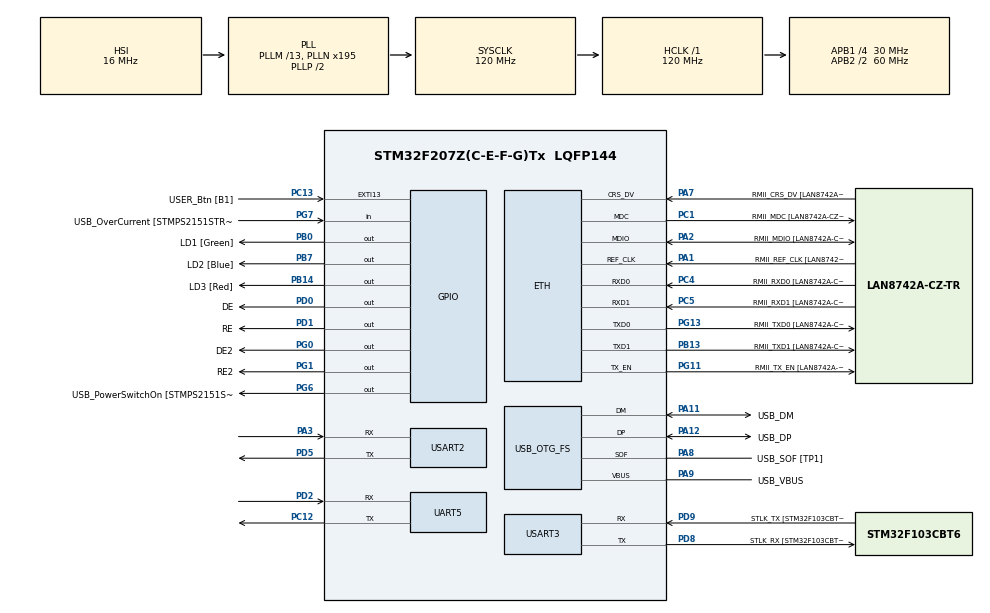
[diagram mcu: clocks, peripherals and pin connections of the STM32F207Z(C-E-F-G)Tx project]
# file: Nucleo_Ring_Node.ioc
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ETH.MediaInterface=ETH_MEDIA_INTERFACE_RMII
ETH.PHY_Name=LAN8742A_PHY_ADDRESS
ETH.PHY_Value=0
ETH.PhyAddress=0
Mcu.Family=STM32F2
Mcu.Name=STM32F207Z(C-E-F-G)Tx
Mcu.Package=LQFP144
NVIC.PriorityGroup=NVIC_PRIORITYGROUP_4
NVIC.UART5_IRQn=true\:0\:0\:false\:false\:true\:true\:true\:true
NVIC.USART2_IRQn=true\:0\:0\:false\:false\:true\:true\:true\:true
PA1.GPIO_Label=RMII_REF_CLK [LAN8742A-CZ-TR_REFCLK0]
PA1.Mode=RMII
PA1.Signal=ETH_REF_CLK
PA10.GPIO_Label=USB_ID
PA10.Signal=USB_OTG_FS_ID
PA11.GPIO_Label=USB_DM
PA11.Mode=Device_Only
PA11.Signal=USB_OTG_FS_DM
PA12.GPIO_Label=USB_DP
PA12.Mode=Device_Only
PA12.Signal=USB_OTG_FS_DP
PA13.GPIO_Label=TMS
PA13.Mode=Serial_Wire
PA13.Signal=SYS_JTMS-SWDIO
PA14.GPIO_Label=TCK
PA14.Mode=Serial_Wire
PA14.Signal=SYS_JTCK-SWCLK
PA2.GPIO_Label=RMII_MDIO [LAN8742A-CZ-TR_MDIO]
PA2.Mode=RMII
PA2.Signal=ETH_MDIO
PA3.Mode=Asynchronous
PA3.Signal=USART2_RX
PA7.GPIO_Label=RMII_CRS_DV [LAN8742A-CZ-TR_CRS_DV]
PA7.Mode=RMII
PA7.Signal=ETH_CRS_DV
PA8.GPIO_Label=USB_SOF [TP1]
PA8.Mode=Activate_SOF_FS
PA8.Signal=USB_OTG_FS_SOF
PA9.GPIO_Label=USB_VBUS
PA9.Mode=Activate_VBUS
PA9.Signal=USB_OTG_FS_VBUS
PB0.GPIO_Label=LD1 [Green]
PB0.Signal=GPIO_Output
PB13.GPIO_Label=RMII_TXD1 [LAN8742A-CZ-TR_TXD1]
PB13.Mode=RMII
PB13.Signal=ETH_TXD1
PB14.GPIO_Label=LD3 [Red]
PB14.Signal=GPIO_Output
PB3.GPIO_Label=SWO
PB3.Signal=SYS_JTDO-SWO
PB7.GPIO_Label=LD2 [Blue]
PB7.Signal=GPIO_Output
PC1.GPIO_Label=RMII_MDC [LAN8742A-CZ-TR_MDC]
PC1.Mode=RMII
PC1.Signal=ETH_MDC
PC12.Mode=Asynchronous
PC12.Signal=UART5_TX
PC13.GPIO_Label=USER_Btn [B1]
PC13.Signal=GPXTI13
PC14-OSC32_IN.Mode=LSE-External-Oscillator
PC14-OSC32_IN.Signal=RCC_OSC32_IN
PC15-OSC32_OUT.Mode=LSE-External-Oscillator
PC15-OSC32_OUT.Signal=RCC_OSC32_OUT
PC4.GPIO_Label=RMII_RXD0 [LAN8742A-CZ-TR_RXD0]
PC4.Mode=RMII
PC4.Signal=ETH_RXD0
PC5.GPIO_Label=RMII_RXD1 [LAN8742A-CZ-TR_RXD1]
PC5.Mode=RMII
PC5.Signal=ETH_RXD1
PD0.GPIO_Label=DE
PD0.Signal=GPIO_Output
PD1.GPIO_Label=RE
PD1.Signal=GPIO_Output
PD2.Mode=Asynchronous
PD2.Signal=UART5_RX
PD5.Mode=Asynchronous
PD5.Signal=USART2_TX
PD8.GPIO_Label=STLK_RX [STM32F103CBT6_PA2]
PD8.Mode=Asynchronous
PD8.Signal=USART3_TX
PD9.GPIO_Label=STLK_TX [STM32F103CBT6_PA3]
PD9.Mode=Asynchronous
PD9.Signal=USART3_RX
PG0.GPIO_Label=DE2
PG0.Signal=GPIO_Output
PG1.GPIO_Label=RE2
PG1.Signal=GPIO_Output
PG11.GPIO_Label=RMII_TX_EN [LAN8742A-CZ-TR_TXEN]
PG11.Mode=RMII
PG11.Signal=ETH_TX_EN
PG13.GPIO_Label=RMII_TXD0 [LAN8742A-CZ-TR_TXD0]
PG13.Mode=RMII
PG13.Signal=ETH_TXD0
PG6.GPIO_Label=USB_PowerSwitchOn [STMPS2151STR_EN]
PG6.Signal=GPIO_Output
PG7.GPIO_Label=USB_OverCurrent [STMPS2151STR_FAULT]
PG7.Signal=GPIO_Input
PH0-OSC_IN.GPIO_Label=MCO [STM32F103CBT6_PA8]
PH0-OSC_IN.Mode=HSE-External-Clock-Source
PH0-OSC_IN.Signal=RCC_OSC_IN
PH1-OSC_OUT.Mode=HSE-External-Clock-Source
PH1-OSC_OUT.Signal=RCC_OSC_OUT
ProjectManager.HeapSize=0x200
ProjectManager.StackSize=0x400
ProjectManager.TargetToolchain=STM32CubeIDE
RCC.48MHZClocksFreq_Value=48000000
RCC.AHBFreq_Value=120000000
RCC.APB1CLKDivider=RCC_HCLK_DIV4
RCC.APB1Freq_Value=30000000
RCC.APB1TimFreq_Value=60000000
RCC.APB2CLKDivider=RCC_HCLK_DIV2
RCC.APB2Freq_Value=60000000
RCC.APB2TimFreq_Value=120000000
RCC.CortexFreq_Value=120000000
RCC.HCLKFreq_Value=120000000
RCC.HSE_VALUE=8000000
RCC.HSI_VALUE=16000000
RCC.PLLM=13
RCC.PLLMUL=RCC_PLL_MUL9
RCC.PLLN=195
RCC.PLLQ=5
RCC.PRESCALERUSB=RCC_USBCLKSOURCE_PLL_DIV1_5
RCC.SYSCLKFreq_VALUE=120000000
RCC.SYSCLKSource=RCC_SYSCLKSOURCE_PLLCLK
RCC.SYSCLKSourceVirtual=RCC_SYSCLKSOURCE_PLLCLK
RCC.USBFreq_Value=48000000
RCC.VCOOutputFreq_Value=240000000
UART5.VirtualMode=Asynchronous
USART2.VirtualMode=VM_ASYNC
USART3.VirtualMode=VM_ASYNC
USB_OTG_FS.VirtualMode=Device_Only
board=NUCLEO-F207ZG

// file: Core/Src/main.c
/* USER CODE BEGIN Header */
/**
  ******************************************************************************
  * @file           : main.c
  * @brief          : Main program body
  ******************************************************************************
  * @attention
  *
  * Copyright (c) 2026 STMicroelectronics.
  * All rights reserved.
  *
  * This software is licensed under terms that can be found in the LICENSE file
  * in the root directory of this software component.
  * If no LICENSE file comes with this software, it is provided AS-IS.
  *
  ******************************************************************************
  */
/* USER CODE END Header */
#include "main.h"

/* USER CODE BEGIN Includes */
#include <stdio.h>
#include <string.h>
#include <stdarg.h>
/* USER CODE END Includes */

/* USER CODE BEGIN PD */
#define RS485_DE_PORT    GPIOD
#define RS485_DE_PIN     GPIO_PIN_0

#define RS485_RE_PORT    GPIOD
#define RS485_RE_PIN     GPIO_PIN_1

#define PKT_DATA    1
#define PKT_ACK     2
#define PKT_STATUS_REQ    3
#define PKT_STATUS_RESP   4

#define DEV_RPI        0x00
#define DEV_ESP32S3    0x01
#define DEV_STM32      0x02
#define DEV_ESP32C6    0x03

#define IDX_TYPE      0
#define IDX_SRC       1
#define IDX_DEST      2
#define IDX_LENGTH    3
#define IDX_PAYLOAD   4
#define HEADER_SIZE 4

#define RS4851_DE_PORT    GPIOG
#define RS4851_DE_PIN     GPIO_PIN_0

#define RS4851_RE_PORT    GPIOG
#define RS4851_RE_PIN     GPIO_PIN_1

/* Reverse RS485 - UART5 */
#define RS485_REV_DE_PORT    GPIOG
#define RS485_REV_DE_PIN     GPIO_PIN_0

#define RS485_REV_RE_PORT    GPIOG
#define RS485_REV_RE_PIN     GPIO_PIN_1
/* USER CODE END PD */

ETH_HandleTypeDef heth;

UART_HandleTypeDef huart5;
UART_HandleTypeDef huart2;
UART_HandleTypeDef huart3;

PCD_HandleTypeDef hpcd_USB_OTG_FS;

/* USER CODE BEGIN PV */
uint8_t rx_data[128];
uint8_t rx_reverse[128];
volatile uint8_t rx_complete = 0;
volatile uint8_t rx_error = 0;
volatile uint32_t rx_error_code = 0;
volatile uint8_t tx_complete = 0;
volatile uint8_t tx_error = 0;

/* UART2 interrupt variables */
/* USART2 RS485 interrupt RX */
volatile uint8_t uart2_rx_byte;

volatile uint8_t uart2_packet[128];
volatile uint8_t uart2_packet_index = 0;
volatile uint8_t uart2_expected_length = 0;
volatile uint8_t uart2_packet_ready = 0;
volatile uint8_t uart2_receiving = 0;

/* USART2 TX */
volatile uint8_t uart2_tx_busy = 0;
volatile uint8_t uart2_tx_complete = 0;

uint8_t uart2_tx_buffer[128];

/* UART5 reverse routing RX */
volatile uint8_t uart5_rx_byte;
volatile uint8_t uart5_packet[128];
volatile uint8_t uart5_packet_index = 0;
volatile uint8_t uart5_expected_length = 0;
volatile uint8_t uart5_packet_ready = 0;
volatile uint8_t uart5_receiving = 0;

/* UART5 reverse routing TX */
volatile uint8_t uart5_tx_complete = 0;
volatile uint8_t uart5_tx_busy = 0;

uint8_t uart5_tx_buffer[128];

/* ======================================= */
/* USER CODE END PV */

void SystemClock_Config(void);
static void MX_GPIO_Init(void);
static void MX_ETH_Init(void);
static void MX_USART3_UART_Init(void);
static void MX_USB_OTG_FS_PCD_Init(void);
static void MX_USART2_UART_Init(void);
static void MX_UART5_Init(void);
/* USER CODE BEGIN PFP */
void handle_status_request(uint8_t *rx_data);
void send_status_response(void);
uint8_t receive_packet(uint8_t *rx);
void handle_data_packet(uint8_t *rx_data);
void UART2_StartReceiveIT(void);

/* Reverse routing - UART5 */
void UART5_StartReceiveIT(void);

void RS485_REV_TX_Mode(void);
void RS485_REV_RX_Mode(void);

void handle_status_request_reverse(uint8_t *rx);
void send_status_response_reverse(void);
void handle_data_packet_reverse(uint8_t *rx);

/* USER CODE END PFP */

/* USER CODE BEGIN 0 */

/*int __io_putchar(int ch)
{
    HAL_UART_Transmit(&huart3, (uint8_t *)&ch, 1, HAL_MAX_DELAY);
    return ch;
}*/

static void UART3_Print(const char *s)
{
    HAL_UART_Transmit(&huart3, (uint8_t*)s, strlen(s), 200);
}

static void UART3_Printf(const char *fmt, ...)
{
    char buf[160];
    va_list args;
    va_start(args, fmt);
    vsnprintf(buf, sizeof(buf), fmt, args);
    va_end(args);
    HAL_UART_Transmit(&huart3, (uint8_t*)buf, strlen(buf), 200);
}

//=========================

//========================
/*void HAL_UART_RxCpltCallback(UART_HandleTypeDef *huart)
{
    if (huart->Instance == UART5)
    {
    	uart2_packet_ready = 1;
    }
}*/

void HAL_UART_RxCpltCallback(UART_HandleTypeDef *huart)
{

    if (huart->Instance == USART2)
    {
        uint8_t byte = uart2_rx_byte;

        if (uart2_packet_ready == 0)
        {

            if (uart2_packet_index == 0)
            {
                uart2_packet[0] = byte;
                uart2_packet_index = 1;
                uart2_receiving = 1;
            }

            else if (uart2_packet_index < 4)
            {
                uart2_packet[uart2_packet_index++] = byte;

                if (uart2_packet_index == 4)
                {
                    uart2_expected_length =
                        uart2_packet[3];

                    if (uart2_expected_length == 0)
                    {
                        uart2_packet_ready = 1;
                        uart2_receiving = 0;
                    }
                }
            }

            else
            {
                uart2_packet[uart2_packet_index++] = byte;

                if (uart2_packet_index >=
                    (4 + uart2_expected_length))
                {
                    uart2_packet_ready = 1;
                    uart2_receiving = 0;
                }
            }
        }

        HAL_UART_Receive_IT(
            &huart2,
            (uint8_t *)&uart2_rx_byte,
            1
        );
    }
    else if (huart->Instance == UART5)
    {
        uint8_t byte = uart5_rx_byte;

        if (uart5_packet_ready == 0)
        {
            if (uart5_packet_index == 0)
            {
                uart5_packet[0] = byte;
                uart5_packet_index = 1;
                uart5_receiving = 1;
            }

            else if (uart5_packet_index < 4)
            {
                uart5_packet[uart5_packet_index++] = byte;

                if (uart5_packet_index == 4)
                {
                    uart5_expected_length =
                        uart5_packet[IDX_LENGTH];

                    if (uart5_expected_length == 0)
                    {
                        uart5_packet_ready = 1;
                        uart5_receiving = 0;
                    }
                }
            }

            else
            {
                uart5_packet[uart5_packet_index++] = byte;

                if (uart5_packet_index >=
                    (HEADER_SIZE + uart5_expected_length))
                {
                    uart5_packet_ready = 1;
                    uart5_receiving = 0;
                }
            }
        }

        HAL_UART_Receive_IT(
            &huart5,
            (uint8_t *)&uart5_rx_byte,
            1
        );
    }

}

/*void HAL_UART_RxCpltCallback(UART_HandleTypeDef *huart)
{

    if (huart->Instance == USART2)
    {
        uint8_t byte = uart2_rx_byte;

        if (uart2_packet_ready == 0)
        {
            if (uart2_packet_index == 0)
            {
                uart2_packet[0] = byte;
                uart2_packet_index = 1;
                uart2_receiving = 1;
            }

            else if (uart2_packet_index < HEADER_SIZE)
            {
                uart2_packet[uart2_packet_index++] = byte;

                if (uart2_packet_index == HEADER_SIZE)
                {
                    uart2_expected_length =
                        uart2_packet[IDX_LENGTH];

                    if (uart2_expected_length >
                        (sizeof(uart2_packet) - HEADER_SIZE))
                    {
                        uart2_packet_index = 0;
                        uart2_expected_length = 0;
                        uart2_receiving = 0;
                    }

                    else if (uart2_expected_length == 0)
                    {
                        uart2_packet_ready = 1;
                        uart2_receiving = 0;
                    }
                }
            }

            else
            {
                uart2_packet[uart2_packet_index++] = byte;

                if (uart2_packet_index >=
                    (HEADER_SIZE + uart2_expected_length))
                {
                    uart2_packet_ready = 1;
                    uart2_receiving = 0;
                }
            }
        }

        HAL_UART_Receive_IT(
            &huart2,
            (uint8_t *)&uart2_rx_byte,
            1
        );
    }

    else if (huart->Instance == UART5)
    {
        uint8_t byte = uart5_rx_byte;

        if (uart5_packet_ready == 0)
        {
            if (uart5_packet_index == 0)
            {
                uart5_packet[0] = byte;
                uart5_packet_index = 1;
                uart5_receiving = 1;
            }

            else if (uart5_packet_index < HEADER_SIZE)
            {
                uart5_packet[uart5_packet_index++] = byte;

                if (uart5_packet_index == HEADER_SIZE)
                {
                    uart5_expected_length =
                        uart5_packet[IDX_LENGTH];

                    if (uart5_expected_length >
                        (sizeof(uart5_packet) - HEADER_SIZE))
                    {
                        uart5_packet_index = 0;
                        uart5_expected_length = 0;
                        uart5_receiving = 0;
                    }

                    else if (uart5_expected_length == 0)
                    {
                        uart5_packet_ready = 1;
                        uart5_receiving = 0;
                    }
                }
            }

            else
            {
                uart5_packet[uart5_packet_index++] = byte;

                if (uart5_packet_index >=
                    (HEADER_SIZE + uart5_expected_length))
                {
                    uart5_packet_ready = 1;
                    uart5_receiving = 0;
                }
            }
        }

        HAL_UART_Receive_IT(
            &huart5,
            (uint8_t *)&uart5_rx_byte,
            1
        );
    }
}
*/

void HAL_UART_TxCpltCallback(UART_HandleTypeDef *huart)
{
    if (huart->Instance == USART2)
    {
        uart2_tx_complete = 1;
        uart2_tx_busy = 0;
    }
    else if (huart->Instance == UART5)
    {
        uart5_tx_complete = 1;
        uart5_tx_busy = 0;
    }
}

void UART2_StartReceiveIT(void)
{
    uart2_rx_byte = 0;

    uart2_packet_index = 0;
    uart2_expected_length = 0;
    uart2_packet_ready = 0;
    uart2_receiving = 0;

    HAL_UART_Receive_IT(
        &huart2,
        (uint8_t *)&uart2_rx_byte,
        1
    );
}

//--------------------------------------------------------

void RS485_RX_Mode(void)
{
    HAL_GPIO_WritePin(RS485_DE_PORT,
                      RS485_DE_PIN,
                      GPIO_PIN_RESET);

    HAL_GPIO_WritePin(RS485_RE_PORT,
                      RS485_RE_PIN,
                      GPIO_PIN_RESET);

 /*   UART3_Printf("RS485 RX MODE: DE=%d RE=%d\r\n",
            HAL_GPIO_ReadPin(RS485_DE_PORT, RS485_DE_PIN),
            HAL_GPIO_ReadPin(RS485_RE_PORT, RS485_RE_PIN));*/
}

void RS485_TX_Mode(void)
{
    HAL_GPIO_WritePin(RS485_DE_PORT,
                      RS485_DE_PIN,
                      GPIO_PIN_SET);

    HAL_GPIO_WritePin(RS485_RE_PORT,
                      RS485_RE_PIN,
                      GPIO_PIN_SET);

/*    UART3_Printf("RS485 TX MODE: DE=%d RE=%d\r\n",
            HAL_GPIO_ReadPin(RS485_DE_PORT, RS485_DE_PIN),
            HAL_GPIO_ReadPin(RS485_RE_PORT, RS485_RE_PIN));*/
}

void RS485_REV_RX_Mode(void)
{
    HAL_GPIO_WritePin(
        RS485_REV_DE_PORT,
        RS485_REV_DE_PIN,
        GPIO_PIN_RESET
    );

    HAL_GPIO_WritePin(
        RS485_REV_RE_PORT,
        RS485_REV_RE_PIN,
        GPIO_PIN_RESET
    );
}

void RS485_REV_TX_Mode(void)
{
    HAL_GPIO_WritePin(
        RS485_REV_DE_PORT,
        RS485_REV_DE_PIN,
        GPIO_PIN_SET
    );

    HAL_GPIO_WritePin(
        RS485_REV_RE_PORT,
        RS485_REV_RE_PIN,
        GPIO_PIN_SET
    );
}

//-----------------------------------------------------

void send_status_response(void)
{
    uint8_t tx_len = 5;
    uint32_t start;

    uart2_tx_buffer[IDX_TYPE]   = PKT_STATUS_RESP;
    uart2_tx_buffer[IDX_SRC]    = DEV_STM32;
    uart2_tx_buffer[IDX_DEST]   = DEV_RPI;
    uart2_tx_buffer[IDX_LENGTH] = 1;
    uart2_tx_buffer[IDX_PAYLOAD] = 1;

    UART3_Print("\r\n===== STATUS RESPONSE =====\r\n");

    UART3_Print("TX: ");

    for (uint8_t i = 0; i < tx_len; i++)
    {
        UART3_Printf(
            "%02X ",
            uart2_tx_buffer[i]
        );
    }

    UART3_Print("\r\n");

    /*
     * Enter RS485 transmit mode
     */
    RS485_TX_Mode();

    UART3_Printf(
        "RS485 TX: DE=%d RE=%d\r\n",
        HAL_GPIO_ReadPin(
            RS485_DE_PORT,
            RS485_DE_PIN
        ),
        HAL_GPIO_ReadPin(
            RS485_RE_PORT,
            RS485_RE_PIN
        )
    );

    uart2_tx_complete = 0;
    uart2_tx_busy = 1;

    /*
     * Start interrupt based transmission
     */
    HAL_StatusTypeDef ret =
        HAL_UART_Transmit_IT(
            &huart2,
            (uint8_t *)uart2_tx_buffer,
            tx_len
        );

    UART3_Printf(
        "HAL_UART_Transmit_IT = %d\r\n",
        ret
    );

    if (ret != HAL_OK)
    {
        UART3_Print("ERROR: UART2 TX IT failed\r\n");

        uart2_tx_busy = 0;

        RS485_RX_Mode();

        return;
    }

    /*
     * Wait for TX interrupt completion.
     *
     * HAL callback will set uart2_tx_complete.
     */
    start = HAL_GetTick();

    while (uart2_tx_complete == 0)
    {
        if ((HAL_GetTick() - start) > 1000)
        {
            UART3_Print(
                "ERROR: USART2 TX interrupt timeout\r\n"
            );

            uart2_tx_busy = 0;

            RS485_RX_Mode();

            return;
        }
    }

    /*
     * TX interrupt completed.
     *
     * Make absolutely sure the USART shift register
     * has finished transmitting the last stop bit.
     */
    while (__HAL_UART_GET_FLAG(
               &huart2,
               UART_FLAG_TC
           ) == RESET)
    {
    }

    UART3_Print(
        "USART2 TX COMPLETE\r\n"
    );

    UART3_Print(
        "USART2 TC = SET\r\n"
    );

    /*
     * Now it is safe to release RS485 bus.
     */
    RS485_RX_Mode();

    UART3_Printf(
        "RS485 RX: DE=%d RE=%d\r\n",
        HAL_GPIO_ReadPin(
            RS485_DE_PORT,
            RS485_DE_PIN
        ),
        HAL_GPIO_ReadPin(
            RS485_RE_PORT,
            RS485_RE_PIN
        )
    );

    UART3_Print(
        "STATUS RESPONSE SENT\r\n"
    );

    UART3_Print(
        "========== STM TX END ==========\r\n"
    );
}

void handle_status_request(uint8_t *rx_data)
{
	UART3_Printf("\n===== STATUS REQUEST =====\r\n");

 //   printf("SRC  : %d\r\n", rx_data[IDX_SRC]);
 //   printf("DEST : %d\r\n", rx_data[IDX_DEST]);

    UART3_Printf("TYPE : %d\r\n", rx_data[IDX_TYPE]);
        UART3_Printf("SRC  : %d\r\n", rx_data[IDX_SRC]);
        UART3_Printf("DEST : %d\r\n", rx_data[IDX_DEST]);
        UART3_Printf("LEN  : %d\r\n", rx_data[IDX_LENGTH]);
    if(rx_data[IDX_DEST] != DEV_STM32)
    {
        return;
    }

    send_status_response();

    /* Wait until TX is completely finished */

//    while(__HAL_UART_GET_FLAG(&huart2, UART_FLAG_TC) == RESET);

}

void handle_data_packet(uint8_t *rx_data)
{
    if(rx_data[IDX_DEST] != DEV_STM32)
    {
        return;
    }

    UART3_Printf("\n===== DATA PACKET =====\r\n");

    UART3_Printf("TYPE : %d\r\n", rx_data[IDX_TYPE]);
    UART3_Printf("SRC  : %d\r\n", rx_data[IDX_SRC]);
    UART3_Printf("DEST : %d\r\n", rx_data[IDX_DEST]);
    UART3_Printf("LEN  : %d\r\n", rx_data[IDX_LENGTH]);

    UART3_Printf("PAYLOAD HEX : ");

    for(int i = 0; i < rx_data[IDX_LENGTH]; i++)
    {
    	UART3_Printf("%c ", rx_data[IDX_PAYLOAD+i]);
    }

    UART3_Printf("\r\n");

    UART3_Printf("Ready for next packet\r\n");
}

uint8_t receive_packet(uint8_t *rx)
{
    uint8_t byte;

    memset(rx, 0, 128);

    while (1)
    {
        /* Read one byte */

        if (HAL_UART_Receive(&huart2, &byte, 1, HAL_MAX_DELAY) != HAL_OK)
        {
            return 0;
        }

        /* Check for valid packet type */

        if (byte == PKT_DATA ||
            byte == PKT_ACK ||
            byte == PKT_STATUS_REQ ||
            byte == PKT_STATUS_RESP)
        {
            rx[IDX_TYPE] = byte;
            break;
        }

        /* Ignore invalid byte and keep searching */
    }

    /* Receive SRC */

    if (HAL_UART_Receive(&huart2,
                         &rx[IDX_SRC],
                         1,
                         HAL_MAX_DELAY) != HAL_OK)
    {
        return 0;
    }
    /* Validate SRC */

    if (rx[IDX_SRC] > DEV_ESP32C6)
    {
        return 0;
    }

    /* Receive DEST */

    if (HAL_UART_Receive(&huart2,
                         &rx[IDX_DEST],
                         1,
                         HAL_MAX_DELAY) != HAL_OK)
    {
        return 0;
    }

    /* Validate DEST */

    if (rx[IDX_DEST] > DEV_ESP32C6)
    {
        return 0;
    }

    /* Receive LENGTH */

    if (HAL_UART_Receive(&huart2,
                         &rx[IDX_LENGTH],
                         1,
                         HAL_MAX_DELAY) != HAL_OK)
    {
        return 0;
    }

    if (rx[IDX_LENGTH] > 64)
    {
        return 0;
    }

    /* Receive Payload */

    if (rx[IDX_LENGTH] > 0)
    {
        if (HAL_UART_Receive(&huart2,
                             &rx[IDX_PAYLOAD],
                             rx[IDX_LENGTH],
                             HAL_MAX_DELAY) != HAL_OK)
        {
            return 0;
        }
    }

    return 1;
}
//--------------------------------------------------------------------

/*void UART2_StartReceiveIT(void)
{
    uart2_rx_byte = 0;

    uart2_packet_index = 0;
    uart2_expected_length = 0;
    uart2_packet_ready = 0;
    uart2_receiving = 0;

    HAL_UART_Receive_IT(&huart2,
                       (uint8_t *)&uart2_rx_byte,
                       1);
}
*/

//---------------------REVERSE ROUTING FUNCTIONS -----------

//============================================================
// REVERSE ROUTING: RPI -> STM32
//============================================================

void handle_status_request_reverse(uint8_t *rx)
{
    UART3_Print(
        "\r\n===== REVERSE STATUS REQUEST =====\r\n"
    );

    UART3_Printf(
        "TYPE : %d\r\n",
        rx[IDX_TYPE]
    );

    UART3_Printf(
        "SRC  : %d\r\n",
        rx[IDX_SRC]
    );

    UART3_Printf(
        "DEST : %d\r\n",
        rx[IDX_DEST]
    );

    UART3_Printf(
        "LEN  : %d\r\n",
        rx[IDX_LENGTH]
    );

    if (rx[IDX_DEST] != DEV_STM32)
    {
        UART3_Print(
            "Reverse status request is not for STM32\r\n"
        );

        return;
    }

    send_status_response_reverse();
}

void handle_data_packet_reverse(uint8_t *rx)
{
    if (rx[IDX_DEST] != DEV_STM32)
    {
        return;
    }

    UART3_Print(
        "\r\n===== REVERSE DATA PACKET =====\r\n"
    );

    UART3_Printf(
        "TYPE : %d\r\n",
        rx[IDX_TYPE]
    );

    UART3_Printf(
        "SRC  : %d\r\n",
        rx[IDX_SRC]
    );

    UART3_Printf(
        "DEST : %d\r\n",
        rx[IDX_DEST]
    );

    UART3_Printf(
        "LEN  : %d\r\n",
        rx[IDX_LENGTH]
    );

    UART3_Print(
        "PAYLOAD HEX : "
    );

    for (uint8_t i = 0;
         i < rx[IDX_LENGTH];
         i++)
    {
        UART3_Printf(
            "%02X ",
            rx[IDX_PAYLOAD + i]
        );
    }

    UART3_Print("\r\n");

    UART3_Print(
        "PAYLOAD ASCII : "
    );

    for (uint8_t i = 0;
         i < rx[IDX_LENGTH];
         i++)
    {
        UART3_Printf(
            "%c",
            rx[IDX_PAYLOAD + i]
        );
    }

    UART3_Print("\r\n");

    UART3_Print(
        "Reverse data received successfully\r\n"
    );
}

void UART5_StartReceiveIT(void)
{
    uart5_rx_byte = 0;

    uart5_packet_index = 0;
    uart5_expected_length = 0;
    uart5_packet_ready = 0;
    uart5_receiving = 0;

    RS485_REV_RX_Mode();

    HAL_UART_Receive_IT(
        &huart5,
        (uint8_t *)&uart5_rx_byte,
        1
    );
}

void send_status_response_reverse(void)
{
    uint8_t tx_len = 5;
    uint32_t start;

    uart5_tx_buffer[IDX_TYPE] =
        PKT_STATUS_RESP;

    uart5_tx_buffer[IDX_SRC] =
        DEV_STM32;

    uart5_tx_buffer[IDX_DEST] =
        DEV_RPI;

    uart5_tx_buffer[IDX_LENGTH] =
        1;

    uart5_tx_buffer[IDX_PAYLOAD] =
        1;

    UART3_Print(
        "\r\n===== REVERSE STATUS RESPONSE =====\r\n"
    );

    UART3_Print("UART5 TX: ");

    for (uint8_t i = 0; i < tx_len; i++)
    {
        UART3_Printf(
            "%02X ",
            uart5_tx_buffer[i]
        );
    }

    UART3_Print("\r\n");

    RS485_REV_TX_Mode();

    UART3_Printf(
        "UART5 RS485 TX: DE=%d RE=%d\r\n",
        HAL_GPIO_ReadPin(
            RS485_REV_DE_PORT,
            RS485_REV_DE_PIN
        ),
        HAL_GPIO_ReadPin(
            RS485_REV_RE_PORT,
            RS485_REV_RE_PIN
        )
    );

    uart5_tx_complete = 0;
    uart5_tx_busy = 1;

    HAL_StatusTypeDef ret =
        HAL_UART_Transmit_IT(
            &huart5,
            uart5_tx_buffer,
            tx_len
        );

    UART3_Printf(
        "HAL_UART_Transmit_IT(UART5) = %d\r\n",
        ret
    );

    if (ret != HAL_OK)
    {
        UART3_Print(
            "ERROR: UART5 TX start failed\r\n"
        );

        uart5_tx_busy = 0;
        RS485_REV_RX_Mode();
        return;
    }

    start = HAL_GetTick();

    while (uart5_tx_complete == 0)
    {
        if ((HAL_GetTick() - start) > 1000)
        {
            UART3_Print(
                "ERROR: UART5 TX interrupt timeout\r\n"
            );

            uart5_tx_busy = 0;
            RS485_REV_RX_Mode();
            return;
        }
    }

    /*
     * HAL TX callback happened.
     * Now make sure the actual UART shift register
     * has transmitted the final stop bit.
     */
    while (__HAL_UART_GET_FLAG(
               &huart5,
               UART_FLAG_TC
           ) == RESET)
    {
    }

    UART3_Print(
        "UART5 TX COMPLETE\r\n"
    );

    UART3_Print(
        "UART5 TC = SET\r\n"
    );

    RS485_REV_RX_Mode();

    UART3_Printf(
        "UART5 RS485 RX: DE=%d RE=%d\r\n",
        HAL_GPIO_ReadPin(
            RS485_REV_DE_PORT,
            RS485_REV_DE_PIN
        ),
        HAL_GPIO_ReadPin(
            RS485_REV_RE_PORT,
            RS485_REV_RE_PIN
        )
    );

    UART3_Print(
        "REVERSE STATUS RESPONSE SENT\r\n"
    );
}

//--------------------------------------------------------
/* USER CODE END 0 */

int main(void)
{

  /* MCU Configuration--------------------------------------------------------*/

  /* Reset of all peripherals, Initializes the Flash interface and the Systick. */  HAL_Init();

  /* Configure the system clock */
  SystemClock_Config();

  /* Initialize all configured peripherals */
  MX_GPIO_Init();
//  MX_ETH_Init();
  MX_USART3_UART_Init();
  MX_USB_OTG_FS_PCD_Init();
  MX_USART2_UART_Init();
  MX_UART5_Init();
  /* USER CODE BEGIN 2 */
  UART3_Print("UART2 Receive Test Started\r\n");
  RS485_RX_Mode();
  UART2_StartReceiveIT();

  /* New reverse UART5 */
  RS485_REV_RX_Mode();

  UART5_StartReceiveIT();
  /* USER CODE END 2 */

  /* Infinite loop */
  while (1)
  {

    /* USER CODE BEGIN 3 */

	  	  if (uart2_packet_ready)
	      {
	          UART3_Print(">>> uart2_packet_ready = 1 <<<\r\n");

	          uint8_t packet_length;

	          packet_length = HEADER_SIZE +
	                          uart2_packet[IDX_LENGTH];

	          if (packet_length > sizeof(rx_data))
	          {
	              uart2_packet_ready = 0;
	              uart2_packet_index = 0;
	              continue;
	          }

	          memcpy(
	              rx_data,
	              (const void *)uart2_packet,
	              packet_length
	          );

	          uart2_packet_ready = 0;
	          uart2_packet_index = 0;
	          uart2_expected_length = 0;
	          uart2_receiving = 0;

	          UART3_Print("\r\n[STM] COMPLETE PACKET RECEIVED\r\n");

	          UART3_Print("RX: ");

	          for (uint8_t i = 0; i < packet_length; i++)
	          {
	              UART3_Printf("%02X ", rx_data[i]);
	          }

	          UART3_Print("\r\n");

	          switch (rx_data[IDX_TYPE])
	          {
	              case PKT_STATUS_REQ:

	                  handle_status_request(rx_data);

	                  break;

	              case PKT_DATA:

	                  handle_data_packet(rx_data);

	                  break;

	              default:

	                  UART3_Print("Unknown Packet\r\n");

	                  break;
	          }
	      }

	  /* =====================================================
	   * REVERSE ROUTING - UART5
	   * ===================================================== */

	  if (uart5_packet_ready)
	      {
	          uint8_t packet_length;

	          packet_length =
	              HEADER_SIZE + uart5_packet[IDX_LENGTH];

	          if (packet_length > sizeof(rx_reverse))
	          {
	              UART3_Print(
	                  "ERROR: UART5 packet too large\r\n"
	              );

	              uart5_packet_ready = 0;
	              uart5_packet_index = 0;
	              uart5_expected_length = 0;
	              uart5_receiving = 0;

	              continue;
	          }

	          memcpy(
	              rx_reverse,
	              (const void *)uart5_packet,
	              packet_length
	          );

	          uart5_packet_ready = 0;
	          uart5_packet_index = 0;
	          uart5_expected_length = 0;
	          uart5_receiving = 0;

	          UART3_Print(
	              "\r\n[STM] REVERSE COMPLETE PACKET RECEIVED\r\n"
	          );

	          UART3_Print("UART5 RX: ");

	          for (uint8_t i = 0; i < packet_length; i++)
	          {
	              UART3_Printf(
	                  "%02X ",
	                  rx_reverse[i]
	              );
	          }

	          UART3_Print("\r\n");

	          if (rx_reverse[IDX_SRC] != DEV_RPI)
	          {
	              UART3_Print(
	                  "UART5: Invalid source\r\n"
	              );

	              continue;
	          }

	          if (rx_reverse[IDX_DEST] != DEV_STM32)
	          {
	              UART3_Print(
	                  "UART5: Packet not for STM32\r\n"
	              );

	              continue;
	          }

	          switch (rx_reverse[IDX_TYPE])
	          {
	              case PKT_STATUS_REQ:

	                  handle_status_request_reverse(
	                      rx_reverse
	                  );

	                  break;

	              case PKT_DATA:

	                  handle_data_packet_reverse(
	                      rx_reverse
	                  );

	                  break;

	              default:

	                  UART3_Print(
	                      "UART5: Unknown packet type\r\n"
	                  );

	                  break;
	          }
	      }
  }
  /* USER CODE END 3 */
}

void SystemClock_Config(void)
{
  RCC_OscInitTypeDef RCC_OscInitStruct = {0};
  RCC_ClkInitTypeDef RCC_ClkInitStruct = {0};

  /** Initializes the RCC Oscillators according to the specified parameters
  * in the RCC_OscInitTypeDef structure.
  */
  RCC_OscInitStruct.OscillatorType = RCC_OSCILLATORTYPE_HSI;
  RCC_OscInitStruct.HSIState = RCC_HSI_ON;
  RCC_OscInitStruct.HSICalibrationValue = RCC_HSICALIBRATION_DEFAULT;
  RCC_OscInitStruct.PLL.PLLState = RCC_PLL_ON;
  RCC_OscInitStruct.PLL.PLLSource = RCC_PLLSOURCE_HSI;
  RCC_OscInitStruct.PLL.PLLM = 13;
  RCC_OscInitStruct.PLL.PLLN = 195;
  RCC_OscInitStruct.PLL.PLLP = RCC_PLLP_DIV2;
  RCC_OscInitStruct.PLL.PLLQ = 5;
  if (HAL_RCC_OscConfig(&RCC_OscInitStruct) != HAL_OK)
  {
    Error_Handler();
  }

  /** Initializes the CPU, AHB and APB buses clocks
  */
  RCC_ClkInitStruct.ClockType = RCC_CLOCKTYPE_HCLK|RCC_CLOCKTYPE_SYSCLK
                              |RCC_CLOCKTYPE_PCLK1|RCC_CLOCKTYPE_PCLK2;
  RCC_ClkInitStruct.SYSCLKSource = RCC_SYSCLKSOURCE_PLLCLK;
  RCC_ClkInitStruct.AHBCLKDivider = RCC_SYSCLK_DIV1;
  RCC_ClkInitStruct.APB1CLKDivider = RCC_HCLK_DIV4;
  RCC_ClkInitStruct.APB2CLKDivider = RCC_HCLK_DIV2;

  if (HAL_RCC_ClockConfig(&RCC_ClkInitStruct, FLASH_LATENCY_3) != HAL_OK)
  {
    Error_Handler();
  }
}

static void MX_ETH_Init(void)
{

   static uint8_t MACAddr[6];

  heth.Instance = ETH;
  heth.Init.AutoNegotiation = ETH_AUTONEGOTIATION_ENABLE;
  heth.Init.Speed = ETH_SPEED_100M;
  heth.Init.DuplexMode = ETH_MODE_FULLDUPLEX;
  heth.Init.PhyAddress = LAN8742A_PHY_ADDRESS;
  MACAddr[0] = 0x00;
  MACAddr[1] = 0x80;
  MACAddr[2] = 0xE1;
  MACAddr[3] = 0x00;
  MACAddr[4] = 0x00;
  MACAddr[5] = 0x00;
  heth.Init.MACAddr = &MACAddr[0];
  heth.Init.RxMode = ETH_RXPOLLING_MODE;
  heth.Init.ChecksumMode = ETH_CHECKSUM_BY_HARDWARE;
  heth.Init.MediaInterface = ETH_MEDIA_INTERFACE_RMII;

  if (HAL_ETH_Init(&heth) != HAL_OK)
  {
    Error_Handler();
  }

}

static void MX_UART5_Init(void)
{

  huart5.Instance = UART5;
  huart5.Init.BaudRate = 115200;
  huart5.Init.WordLength = UART_WORDLENGTH_8B;
  huart5.Init.StopBits = UART_STOPBITS_1;
  huart5.Init.Parity = UART_PARITY_NONE;
  huart5.Init.Mode = UART_MODE_TX_RX;
  huart5.Init.HwFlowCtl = UART_HWCONTROL_NONE;
  huart5.Init.OverSampling = UART_OVERSAMPLING_16;
  if (HAL_UART_Init(&huart5) != HAL_OK)
  {
    Error_Handler();
  }

}

static void MX_USART2_UART_Init(void)
{

  huart2.Instance = USART2;
  huart2.Init.BaudRate = 115200;
  huart2.Init.WordLength = UART_WORDLENGTH_8B;
  huart2.Init.StopBits = UART_STOPBITS_1;
  huart2.Init.Parity = UART_PARITY_NONE;
  huart2.Init.Mode = UART_MODE_TX_RX;
  huart2.Init.HwFlowCtl = UART_HWCONTROL_NONE;
  huart2.Init.OverSampling = UART_OVERSAMPLING_16;
  if (HAL_UART_Init(&huart2) != HAL_OK)
  {
    Error_Handler();
  }

}

static void MX_USART3_UART_Init(void)
{

  huart3.Instance = USART3;
  huart3.Init.BaudRate = 115200;
  huart3.Init.WordLength = UART_WORDLENGTH_8B;
  huart3.Init.StopBits = UART_STOPBITS_1;
  huart3.Init.Parity = UART_PARITY_NONE;
  huart3.Init.Mode = UART_MODE_TX_RX;
  huart3.Init.HwFlowCtl = UART_HWCONTROL_NONE;
  huart3.Init.OverSampling = UART_OVERSAMPLING_16;
  if (HAL_UART_Init(&huart3) != HAL_OK)
  {
    Error_Handler();
  }

}

static void MX_USB_OTG_FS_PCD_Init(void)
{

  hpcd_USB_OTG_FS.Instance = USB_OTG_FS;
  hpcd_USB_OTG_FS.Init.dev_endpoints = 4;
  hpcd_USB_OTG_FS.Init.speed = PCD_SPEED_FULL;
  hpcd_USB_OTG_FS.Init.dma_enable = DISABLE;
  hpcd_USB_OTG_FS.Init.phy_itface = PCD_PHY_EMBEDDED;
  hpcd_USB_OTG_FS.Init.Sof_enable = ENABLE;
  hpcd_USB_OTG_FS.Init.low_power_enable = DISABLE;
  hpcd_USB_OTG_FS.Init.vbus_sensing_enable = ENABLE;
  hpcd_USB_OTG_FS.Init.use_dedicated_ep1 = DISABLE;
  if (HAL_PCD_Init(&hpcd_USB_OTG_FS) != HAL_OK)
  {
    Error_Handler();
  }

}

static void MX_GPIO_Init(void)
{
  GPIO_InitTypeDef GPIO_InitStruct = {0};

  /* GPIO Ports Clock Enable */
  __HAL_RCC_GPIOC_CLK_ENABLE();
  __HAL_RCC_GPIOH_CLK_ENABLE();
  __HAL_RCC_GPIOA_CLK_ENABLE();
  __HAL_RCC_GPIOB_CLK_ENABLE();
  __HAL_RCC_GPIOG_CLK_ENABLE();
  __HAL_RCC_GPIOD_CLK_ENABLE();

  /*Configure GPIO pin Output Level */
  HAL_GPIO_WritePin(GPIOB, LD1_Pin|LD3_Pin|LD2_Pin, GPIO_PIN_RESET);

  /*Configure GPIO pin Output Level */
  HAL_GPIO_WritePin(GPIOG, DE2_Pin|RE2_Pin|USB_PowerSwitchOn_Pin, GPIO_PIN_RESET);

  /*Configure GPIO pin Output Level */
  HAL_GPIO_WritePin(GPIOD, DE_Pin|RE_Pin, GPIO_PIN_RESET);

  /*Configure GPIO pin : USER_Btn_Pin */
  GPIO_InitStruct.Pin = USER_Btn_Pin;
  GPIO_InitStruct.Mode = GPIO_MODE_IT_RISING;
  GPIO_InitStruct.Pull = GPIO_NOPULL;
  HAL_GPIO_Init(USER_Btn_GPIO_Port, &GPIO_InitStruct);

  /*Configure GPIO pins : LD1_Pin LD3_Pin LD2_Pin */
  GPIO_InitStruct.Pin = LD1_Pin|LD3_Pin|LD2_Pin;
  GPIO_InitStruct.Mode = GPIO_MODE_OUTPUT_PP;
  GPIO_InitStruct.Pull = GPIO_NOPULL;
  GPIO_InitStruct.Speed = GPIO_SPEED_FREQ_LOW;
  HAL_GPIO_Init(GPIOB, &GPIO_InitStruct);

  /*Configure GPIO pins : DE2_Pin RE2_Pin USB_PowerSwitchOn_Pin */
  GPIO_InitStruct.Pin = DE2_Pin|RE2_Pin|USB_PowerSwitchOn_Pin;
  GPIO_InitStruct.Mode = GPIO_MODE_OUTPUT_PP;
  GPIO_InitStruct.Pull = GPIO_NOPULL;
  GPIO_InitStruct.Speed = GPIO_SPEED_FREQ_LOW;
  HAL_GPIO_Init(GPIOG, &GPIO_InitStruct);

  /*Configure GPIO pin : USB_OverCurrent_Pin */
  GPIO_InitStruct.Pin = USB_OverCurrent_Pin;
  GPIO_InitStruct.Mode = GPIO_MODE_INPUT;
  GPIO_InitStruct.Pull = GPIO_NOPULL;
  HAL_GPIO_Init(USB_OverCurrent_GPIO_Port, &GPIO_InitStruct);

  /*Configure GPIO pins : DE_Pin RE_Pin */
  GPIO_InitStruct.Pin = DE_Pin|RE_Pin;
  GPIO_InitStruct.Mode = GPIO_MODE_OUTPUT_PP;
  GPIO_InitStruct.Pull = GPIO_NOPULL;
  GPIO_InitStruct.Speed = GPIO_SPEED_FREQ_LOW;
  HAL_GPIO_Init(GPIOD, &GPIO_InitStruct);

}

void Error_Handler(void)
{
  __disable_irq();
  while (1)
  {
  }
}
